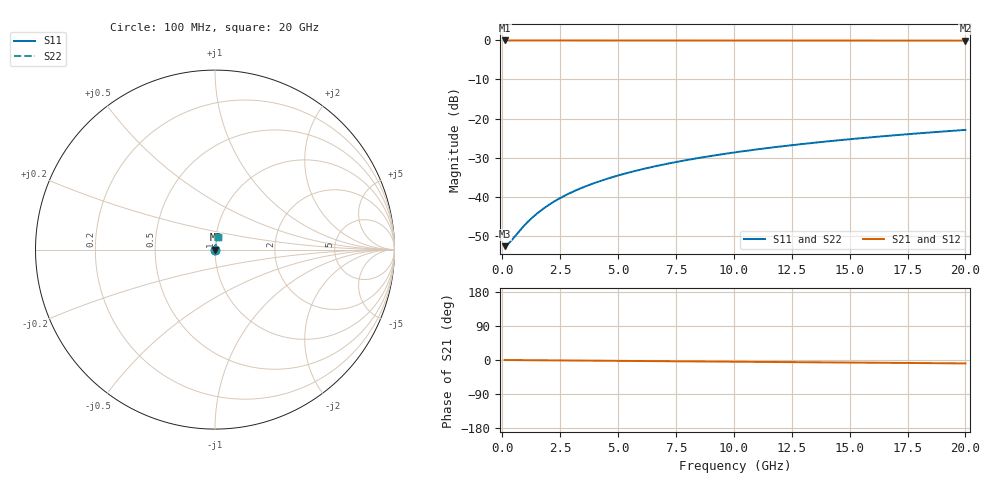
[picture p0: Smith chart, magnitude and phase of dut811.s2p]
! Touchstone file exported from HFSS 2026.1.0
!  File:  C:/ffzhzh/LocalFiles/Ansys_Project_Files/temp_train_TSV_811_1783184311_51560.aedt
!  Generated:  01:01:50 AM Jul  5, 2026
!  Design:  TSV
!  Project:  temp_train_TSV_811_1783184311_51560
! Variables:
!  h_bsmrdl = 2um
!  h_ox = 20um
!  h_rdl = 5um
!  h_sub = 85.68um
!  h_tmrdl = 5um
!  h_tsv = 85.68um
!  h_via = 3um
!  l_bsmrdl = 300um
!  l_sub = 404.12um
!  l_tmrdl = 200um
!  m_sub = 200um
!  pitch = 18.7um
!  r_tsv = 2.06um
!  s_tmrdl = 10um
!  w_bsmrdl = 18um
!  w_sub = 500um
!  w_tmrdl = 12um
!  x_tsv_center1 = 206um
!  x_tsv_center2 = 524um
!  x_tsv_center3 = 736um
!  x_tsv_center4 = 1054um
!  x_tsv_center5 = 1266um
!  x_tsv_center6 = 1584um
# GHz S MA R 50.000000
! Terminal data exported
! Port[1] = TSV1_1_T1
! Port[2] = TSV1_1_T2
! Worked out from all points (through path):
!   200 points, 100 MHz to 20 GHz, reference 50 ohm
!   highest |S21| = -0.02 dB at 100 MHz (marker M1); lowest = -0.1 dB at 20 GHz (marker M2)
!   group delay of S21, straight-line fit = 1.25 ps
!   lowest |S11| = -52.6 dB at 100 MHz (marker M3), VSWR 1.00, Z = 50.2 + j0.0383 ohm
!   |S11| at or under -10 dB: start of sweep to end of sweep
!   |S22| runs from -52.6 to -22.9 dB; largest |S21 - S12| = 3.4e-15
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0.1  0.002339 9.4  0.9977 -0.0  0.9977 -0.0  0.002339 9.4
! Gamma 0 0 0 0
! Port Impedance 50 0 50 0
0.2  0.002435 18.2  0.9977 -0.1  0.9977 -0.1  0.002435 18.2
0.3  0.002585 26.2  0.9977 -0.1  0.9977 -0.1  0.002585 26.2
0.4  0.002781 33.1  0.9977 -0.2  0.9977 -0.2  0.002781 33.1
0.8  0.003836 51.7  0.9976 -0.4  0.9976 -0.4  0.003836 51.7
1.1  0.004776 59.6  0.9976 -0.5  0.9976 -0.5  0.004776 59.6
1.4  0.005774 64.8  0.9976 -0.6  0.9976 -0.6  0.005774 64.8
1.7  0.006806 68.4  0.9976 -0.8  0.9976 -0.8  0.006806 68.4
2.1  0.008212 71.7  0.9975 -1.0  0.9975 -1.0  0.008212 71.7
2.5  0.009641 74.0  0.9975 -1.1  0.9975 -1.1  0.009641 74.0
3  0.01144 76.0  0.9974 -1.4  0.9974 -1.4  0.01144 76.0
3.5  0.01326 77.4  0.9974 -1.6  0.9974 -1.6  0.01326 77.4
4.2  0.01581 78.6  0.9973 -1.9  0.9973 -1.9  0.01581 78.6
5  0.01873 79.5  0.9971 -2.3  0.9971 -2.3  0.01873 79.5
5.9  0.02201 80.1  0.997 -2.7  0.997 -2.7  0.02201 80.1
6.8  0.02529 80.3  0.9968 -3.1  0.9968 -3.1  0.02529 80.3
8.3  0.03072 80.4  0.9964 -3.8  0.9964 -3.8  0.03072 80.4
10.1  0.03719 80.2  0.9959 -4.6  0.9959 -4.6  0.03719 80.2
11.7  0.04289 79.8  0.9954 -5.3  0.9954 -5.3  0.04289 79.8
13.4  0.04889 79.3  0.9949 -6.1  0.9949 -6.1  0.04889 79.3
16.7  0.06039 78.2  0.9937 -7.5  0.9937 -7.5  0.06039 78.2
20  0.07171 77.1  0.9925 -9.0  0.9925 -9.0  0.07171 77.1
